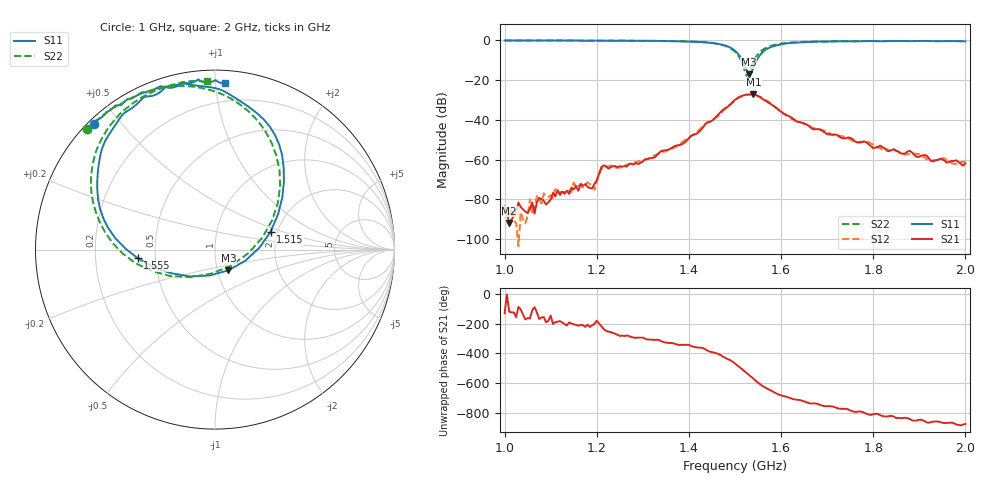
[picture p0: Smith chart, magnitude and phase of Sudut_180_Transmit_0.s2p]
# Hz S RI R 50
! CMT, C1220, 16058040, 17.2.0/1
! Date: 15/08/2018 09:06:31
! Data: Format (Calibration Info)
! Freq  S11: Re/Im (F2)  S21: Re/Im (F2)  S12: Re/Im (F2)  S22: Re/Im (F2)
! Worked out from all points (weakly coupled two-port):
!   201 points, 1 GHz to 2 GHz, reference 50 ohm
!   highest |S21| = -27.22 dB at 1.54 GHz (marker M1); lowest = -91.8 dB at 1.01 GHz (marker M2)
!   lowest |S11| = -17.2 dB at 1.53 GHz (marker M3), VSWR 1.32, Z = 56.4 - j13.3 ohm
!   |S11| at or under -10 dB: 1.516 GHz to 1.548 GHz (32.01 MHz wide, 2.09 % of centre)
!   |S22| runs from -18.0 to -0.2 dB; largest |S21 - S12| = 0.002
!   S11 on the Smith chart (normalised r, x): 1 GHz: 0.02, +0.43; 1.515 GHz: 1.84, +0.41; 1.555 GHz: 0.40, -0.05; 2 GHz: 0.08, +1.06
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1e9  -0.674 0.7019  -4.11e-05 -5.16e-05  4.14e-05 4.46e-06  -0.713 0.6697
1.01e9  -0.6647 0.714  -1.16e-05 -2.28e-05  -4.09e-06 -4e-05  -0.7056 0.6765
1.1e9  -0.598 0.7688  -8.02e-05 -5.85e-05  -0.000123 -2.5e-05  -0.6315 0.7433
1.11e9  -0.584 0.7774  -0.000117 1.59e-05  -0.000178 3e-05  -0.6232 0.7491
1.145e9  -0.5511 0.8025  -0.000191 5.82e-05  -0.000142 5.46e-05  -0.5894 0.7738
1.15e9  -0.5476 0.8022  -0.000165 7.17e-05  -0.000236 0.000121  -0.5838 0.7776
1.17e9  -0.5165 0.8156  -0.000194 0.000106  -0.000146 0.000137  -0.5618 0.7919
1.18e9  -0.4978 0.8293  -0.000186 8.98e-05  -0.000204 0.000175  -0.5506 0.7974
1.195e9  -0.4841 0.8404  -0.000229 8.5e-05  -0.000154 8.26e-05  -0.53 0.8046
1.215e9  -0.4738 0.8394  -0.00041 0.000587  -0.000412 0.000546  -0.5176 0.8109
1.29e9  -0.3494 0.8886  0.0003 0.000712  0.000418 0.000811  -0.4138 0.8683
1.335e9  -0.28 0.9076  0.000923 0.00115  0.00103 0.000981  -0.3299 0.8945
1.45e9  0.1315 0.8331  0.00813 -0.00481  0.00801 -0.00559  0.0859 0.8429
1.5e9  0.3839 0.3805  -0.00988 -0.03  -0.00936 -0.0281  0.3629 0.3557
1.515e9  0.3097 0.0994  -0.0325 -0.0224  -0.0322 -0.0233  0.2638 0.0671
1.53e9  0.0742 -0.1156  -0.0426 0.00368  -0.0429 0.00354  -0.0214 -0.1341
1.54e9  -0.1395 -0.1494  -0.0375 0.022  -0.0373 0.0217  -0.2486 -0.1474
1.555e9  -0.4301 -0.0481  -0.0125 0.0344  -0.0143 0.0346  -0.5122 -0.024
1.59e9  -0.6556 0.331  0.0129 0.0146  0.0135 0.0144  -0.6917 0.3593
1.67e9  -0.5182 0.7479  0.00546 -0.00179  0.00582 -0.00187  -0.554 0.7291
1.835e9  -0.1948 0.9209  -0.000384 -0.00159  -0.000451 -0.00159  -0.2788 0.9059
2e9  0.0573 0.9264  -0.000744 -0.000307  -0.000821 -0.000333  -0.044 0.9417
